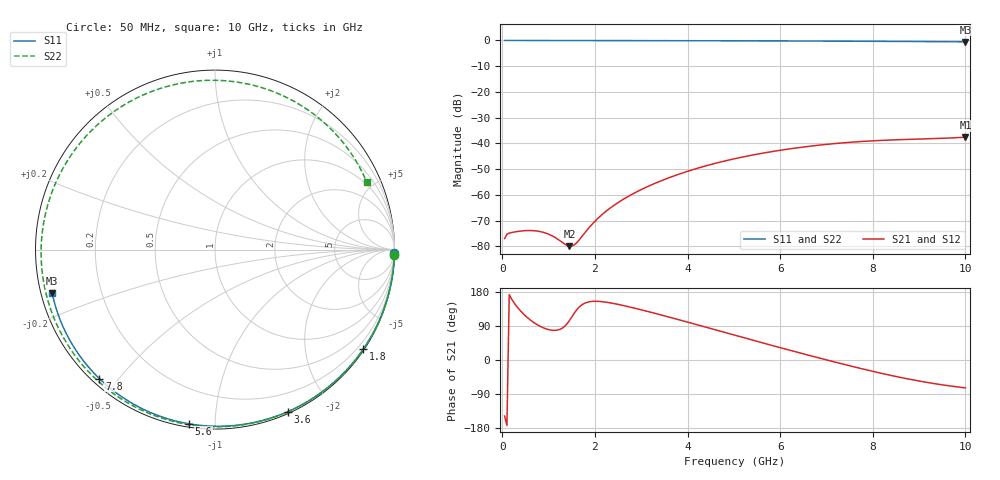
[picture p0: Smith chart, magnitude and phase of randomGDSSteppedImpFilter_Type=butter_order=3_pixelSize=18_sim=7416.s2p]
! freq	dB(S11)	phase(S11)	dB(S12)	phase(S12)
!  dB(S21)	phase(S21)	dB(S22)	phase(S22)
!S-par simulation data
#  GHz  S  DB  R 50
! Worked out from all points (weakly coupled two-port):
!   200 points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, 50 MHz to 10 GHz, reference 50 ohm
!   highest |S21| = -37.58 dB at 10 GHz (marker M1); lowest = -79.9 dB at 1.45 GHz (marker M2)
!   lowest |S11| = -0.5 dB at 10 GHz (marker M3), VSWR 31.82, Z = 1.6 - j6.57 ohm
!   |S11| at or under -10 dB: nowhere
!   |S22| runs from -0.7 to 0.0 dB; largest |S21 - S12| = 0
!   S11 on the Smith chart (normalised r, x): 50 MHz: open; 1.8 GHz: 0.03, -3.29; 3.6 GHz: 0.02, -1.55; 5.6 GHz: 0.02, -0.86; 7.8 GHz: 0.02, -0.45; 10 GHz: 0.03, -0.13
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0.05  -0.00 -1.0  -76.99 -147.7  -76.99 -147.7  -0.00 -1.8
0.1  -0.00 -1.9  -75.31 -172.8  -75.31 -172.8  -0.00 -3.5
0.2  -0.00 -3.8  -74.62 161.2  -74.62 161.2  -0.00 -7.1
0.7  -0.02 -13.3  -73.95 97.3  -73.95 97.3  -0.02 -24.6
1  -0.02 -19.0  -75.28 80.2  -75.28 80.2  -0.04 -35.0
1.45  -0.03 -27.4  -79.94 104.1  -79.94 104.1  -0.06 -50.2
1.55  -0.04 -29.2  -79.47 122.9  -79.47 122.9  -0.07 -53.5
1.75  -0.04 -32.9  -75.46 147.9  -75.46 147.9  -0.08 -60.1
1.8  -0.04 -33.8  -74.33 150.8  -74.33 150.8  -0.08 -61.7
2.1  -0.05 -39.3  -68.53 154.5  -68.53 154.5  -0.09 -71.4
2.45  -0.06 -45.6  -63.59 148.0  -63.59 148.0  -0.10 -82.5
3.4  -0.08 -62.3  -54.75 119.8  -54.75 119.8  -0.14 -111.5
3.6  -0.09 -65.7  -53.34 113.3  -53.34 113.3  -0.15 -117.4
4.35  -0.11 -78.3  -48.95 88.2  -48.95 88.2  -0.19 -139.2
5.05  -0.14 -89.7  -45.82 64.4  -45.82 64.4  -0.23 -159.4
5.6  -0.16 -98.4  -43.87 45.8  -43.87 45.8  -0.26 -175.5
6.15  -0.19 -106.9  -42.27 27.6  -42.27 27.6  -0.31 167.9
6.7  -0.22 -115.3  -40.97 9.8  -40.97 9.8  -0.35 150.5
7.8  -0.31 -131.8  -39.21 -24.2  -39.21 -24.2  -0.45 112.7
8.35  -0.36 -140.0  -38.70 -39.6  -38.70 -39.6  -0.50 91.9
9.15  -0.44 -152.0  -38.23 -58.7  -38.23 -58.7  -0.58 59.7
10  -0.55 -165.0  -37.58 -73.6  -37.58 -73.6  -0.68 24.1
